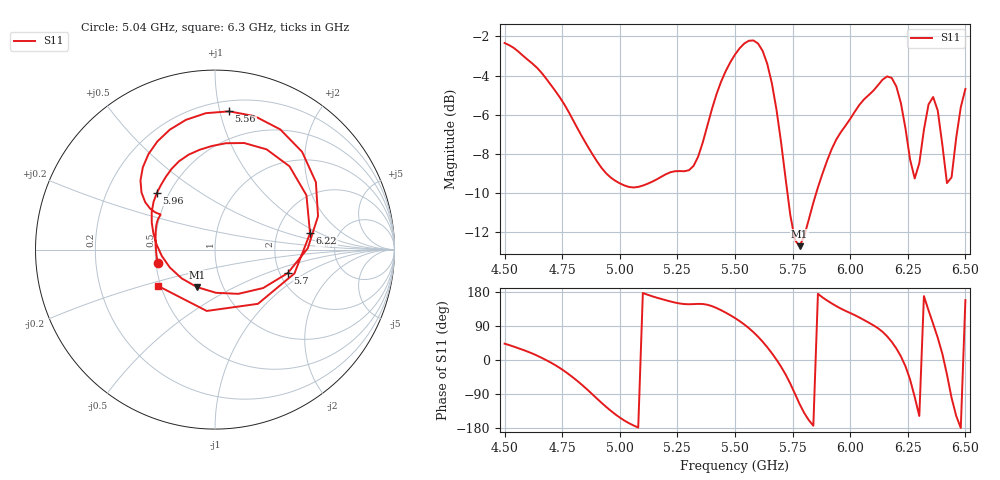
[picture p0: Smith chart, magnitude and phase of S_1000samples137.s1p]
! TOUCHSTONE file generated by CST MICROWAVE STUDIO
! Date and time: Thu Oct 27 03:18:39 2022
! Project name: L.cst
! Parameters = {Di=1.27; Epsilon_r=1.56; InnerDiameter=1.27; Length=2; Lf=10; Lg=60; OuterConductorThickness=0.2921; OuterDiameter=3.6; Wf=3; Wp=41.2; de=1.5; df=6.8; g=0.8; gx=3.18344; gy=0.466146; h=2.34; hf=1.524; px=13.1557; py=12.3611; w=9.7; wx=9.97224; wy=11.8949}
! Header version: 2018
! Port assignment regex: !\s*Touchstone port\s*([0-9]+)\s*=\s*(CST MWS port|CST DS port)\s*([0-9]+|Zmin|Zmax)\s*\(\"(.*)\"\)(\s*mode\s*([0-9]+))?.*
! Touchstone port assignment:
! Touchstone port 1 = CST MWS port 1 ("")
# GHz S DB R 50
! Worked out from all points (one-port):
!   101 points, 4.5 GHz to 6.5 GHz, reference 50 ohm
!   lowest |S11| = -12.7 dB at 5.78 GHz (marker M1), VSWR 1.60, Z = 37.7 - j16.7 ohm
!   |S11| at or under -10 dB: 5.728 GHz to 5.852 GHz (124.5 MHz wide, 2.15 % of centre)
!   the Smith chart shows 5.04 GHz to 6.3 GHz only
!   S11 on the Smith chart (normalised r, x): 5.04 GHz: 0.51, -0.09; 5.56 GHz: 0.28, +1.07; 5.7 GHz: 2.21, -0.71; 5.96 GHz: 0.43, +0.34; 6.22 GHz: 3.10, +0.79; 6.3 GHz: 0.48, -0.23
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4.5  -2.34 43.1
4.64  -3.59 11.8
4.76  -5.48 -29.4
4.86  -7.60 -78.7
5  -9.49 -151.9
5.04  -9.68 -166.8
5.26  -8.87 149.1
5.38  -6.56 145.8
5.5  -2.93 110.7
5.56  -2.22 84.2
5.64  -3.40 33.8
5.7  -7.40 -17.8
5.76  -12.38 -88.8
5.78  -12.70 -115.7
5.86  -9.70 174.7
5.96  -6.87 135.4
6  -6.21 124.0
6.14  -4.21 74.6
6.18  -4.12 48.2
6.22  -5.40 9.7
6.26  -8.28 -51.6
6.3  -8.46 -147.7
6.32  -6.76 168.7
6.36  -5.09 95.5
6.4  -7.53 16.3
6.44  -9.19 -99.8
6.46  -7.18 -147.2
6.5  -4.68 158.2
